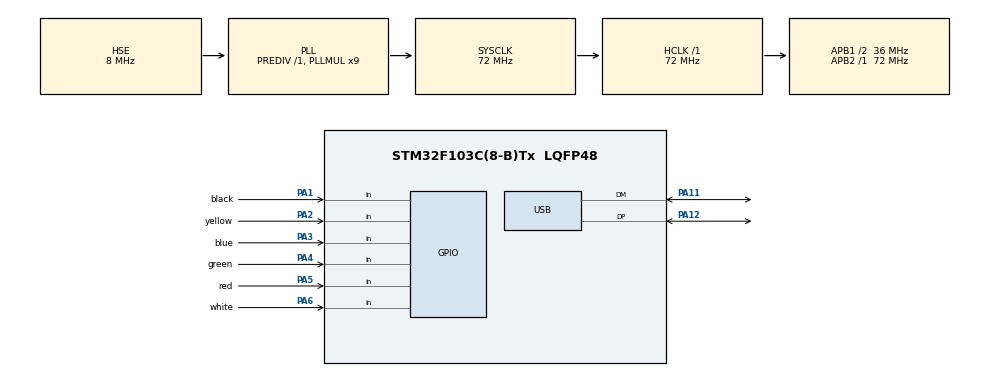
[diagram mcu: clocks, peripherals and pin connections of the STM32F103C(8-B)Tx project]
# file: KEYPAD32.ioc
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Mcu.Family=STM32F1
Mcu.Name=STM32F103C(8-B)Tx
Mcu.Package=LQFP48
NVIC.PriorityGroup=NVIC_PRIORITYGROUP_4
NVIC.USB_LP_CAN1_RX0_IRQn=true\:0\:0\:false\:false\:true\:false\:true
PA1.GPIO_Label=black
PA1.GPIO_PuPd=GPIO_PULLDOWN
PA1.Signal=GPIO_Input
PA11.Mode=Device
PA11.Signal=USB_DM
PA12.Mode=Device
PA12.Signal=USB_DP
PA13.Mode=Serial_Wire
PA13.Signal=SYS_JTMS-SWDIO
PA14.Mode=Serial_Wire
PA14.Signal=SYS_JTCK-SWCLK
PA2.GPIO_Label=yellow
PA2.GPIO_PuPd=GPIO_PULLDOWN
PA2.Signal=GPIO_Input
PA3.GPIO_Label=blue
PA3.GPIO_PuPd=GPIO_PULLDOWN
PA3.Signal=GPIO_Input
PA4.GPIO_Label=green
PA4.GPIO_PuPd=GPIO_PULLDOWN
PA4.Signal=GPIO_Input
PA5.GPIO_Label=red
PA5.GPIO_PuPd=GPIO_PULLDOWN
PA5.Signal=GPIO_Input
PA6.GPIO_Label=white
PA6.GPIO_PuPd=GPIO_PULLDOWN
PA6.Signal=GPIO_Input
PD0-OSC_IN.Mode=HSE-External-Oscillator
PD0-OSC_IN.Signal=RCC_OSC_IN
PD1-OSC_OUT.Mode=HSE-External-Oscillator
PD1-OSC_OUT.Signal=RCC_OSC_OUT
ProjectManager.HeapSize=0x200
ProjectManager.StackSize=0x400
ProjectManager.TargetToolchain=STM32CubeIDE
RCC.AHBFreq_Value=72000000
RCC.APB1CLKDivider=RCC_HCLK_DIV2
RCC.APB1Freq_Value=36000000
RCC.APB1TimFreq_Value=72000000
RCC.APB2Freq_Value=72000000
RCC.APB2TimFreq_Value=72000000
RCC.HCLKFreq_Value=72000000
RCC.PLLMUL=RCC_PLL_MUL9
RCC.PLLSourceVirtual=RCC_PLLSOURCE_HSE
RCC.SYSCLKFreq_VALUE=72000000
RCC.SYSCLKSource=RCC_SYSCLKSOURCE_PLLCLK
RCC.USBFreq_Value=48000000
RCC.USBPrescaler=RCC_USBCLKSOURCE_PLL_DIV1_5
USB_DEVICE.CLASS_NAME_FS=HID
USB_DEVICE.PRODUCT_STRING_HID_FS=STM32KeyPad
USB_DEVICE.VirtualMode=Hid
USB_DEVICE.VirtualModeFS=Hid_FS
VP_USB_DEVICE_VS_USB_DEVICE_HID_FS.Mode=HID_FS
board=custom

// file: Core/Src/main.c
/* USER CODE BEGIN Header */
/**
  ******************************************************************************
  * @file           : main.c
  * @brief          : Main program body
  ******************************************************************************
  * @attention
  *
  * <h2><center>&copy; Copyright (c) 2021 STMicroelectronics.
  * All rights reserved.</center></h2>
  *
  * This software component is licensed by ST under BSD 3-Clause license,
  * the "License"; You may not use this file except in compliance with the
  * License. You may obtain a copy of the License at:
  *                        opensource.org/licenses/BSD-3-Clause
  *
  ******************************************************************************
  */
/* USER CODE END Header */

#include "main.h"
#include "usb_device.h"

/* USER CODE BEGIN Includes */
#include "usbd_hid.h"
/* USER CODE END Includes */

void SystemClock_Config(void);
static void MX_GPIO_Init(void);
/* USER CODE BEGIN PFP */
static uint8_t	key_pressed(uint16_t key, uint32_t time)
{
	if (HAL_GPIO_ReadPin(GPIOA, key) == GPIO_PIN_RESET && time > 50)
		return 1;
	return 0;
}

static uint8_t	key_released(uint16_t key, uint32_t time)
{
	if (HAL_GPIO_ReadPin(GPIOA, key) == GPIO_PIN_SET && time > 50)
		return 1;
	return 0;
}
/* USER CODE END PFP */

/* USER CODE BEGIN 0 */
extern USBD_HandleTypeDef hUsbDeviceFS;

keyboardHID keyboardhid = {0,0,0,0,0,0,0,0};
/* USER CODE END 0 */

int main(void)
{
  /* USER CODE BEGIN 1 */
	uint32_t ms;
	uint32_t pause;

	pause = 0;
  /* USER CODE END 1 */

  /* MCU Configuration--------------------------------------------------------*/

  /* Reset of all peripherals, Initializes the Flash interface and the Systick. */
  HAL_Init();

  /* Configure the system clock */
  SystemClock_Config();

  /* Initialize all configured peripherals */
  MX_GPIO_Init();
  MX_USB_DEVICE_Init();

  /* Infinite loop */
  while (1)
  {

    /* USER CODE BEGIN 3 */
	  ms = HAL_GetTick();
	  if (key_pressed(black_Pin, (ms - pause)))
	  {
	 	  keyboardhid.MODIFIER = 0x04;  // left ALT
	 	  keyboardhid.KEYCODE1 = 0xE1;  // press LShift
	 	  USBD_HID_SendReport(&hUsbDeviceFS, &keyboardhid, sizeof(keyboardhid));
	 	  pause = ms;
	 	  if (key_released(black_Pin, (ms - pause)))
	 	  {
	 	 	  keyboardhid.MODIFIER = 0x00;
	 	 	  keyboardhid.KEYCODE1 = 0x00;
	 	 	  USBD_HID_SendReport(&hUsbDeviceFS, &keyboardhid, sizeof(keyboardhid));
	 	 	  pause = ms;
	 	  }
	  }

	  if (key_pressed(yellow_Pin, (ms - pause)))
	  {
		  keyboardhid.MODIFIER = 0x02;  // press LShift
		  keyboardhid.KEYCODE1 = 0x04;  // press A
		  USBD_HID_SendReport(&hUsbDeviceFS, &keyboardhid, sizeof(keyboardhid));
		  pause = ms;
		  if (key_released(yellow_Pin, (ms - pause)))
		  {
			  keyboardhid.MODIFIER = 0x00;
			  keyboardhid.KEYCODE1 = 0x00;
			  USBD_HID_SendReport(&hUsbDeviceFS, &keyboardhid, sizeof(keyboardhid));
			  pause = ms;
		  }
	  }
  }
  /* USER CODE END 3 */
}

void SystemClock_Config(void)
{
  RCC_OscInitTypeDef RCC_OscInitStruct = {0};
  RCC_ClkInitTypeDef RCC_ClkInitStruct = {0};
  RCC_PeriphCLKInitTypeDef PeriphClkInit = {0};

  /** Initializes the CPU, AHB and APB busses clocks
  */
  RCC_OscInitStruct.OscillatorType = RCC_OSCILLATORTYPE_HSE;
  RCC_OscInitStruct.HSEState = RCC_HSE_ON;
  RCC_OscInitStruct.HSEPredivValue = RCC_HSE_PREDIV_DIV1;
  RCC_OscInitStruct.HSIState = RCC_HSI_ON;
  RCC_OscInitStruct.PLL.PLLState = RCC_PLL_ON;
  RCC_OscInitStruct.PLL.PLLSource = RCC_PLLSOURCE_HSE;
  RCC_OscInitStruct.PLL.PLLMUL = RCC_PLL_MUL9;
  if (HAL_RCC_OscConfig(&RCC_OscInitStruct) != HAL_OK)
  {
    Error_Handler();
  }
  /** Initializes the CPU, AHB and APB busses clocks
  */
  RCC_ClkInitStruct.ClockType = RCC_CLOCKTYPE_HCLK|RCC_CLOCKTYPE_SYSCLK
                              |RCC_CLOCKTYPE_PCLK1|RCC_CLOCKTYPE_PCLK2;
  RCC_ClkInitStruct.SYSCLKSource = RCC_SYSCLKSOURCE_PLLCLK;
  RCC_ClkInitStruct.AHBCLKDivider = RCC_SYSCLK_DIV1;
  RCC_ClkInitStruct.APB1CLKDivider = RCC_HCLK_DIV2;
  RCC_ClkInitStruct.APB2CLKDivider = RCC_HCLK_DIV1;

  if (HAL_RCC_ClockConfig(&RCC_ClkInitStruct, FLASH_LATENCY_2) != HAL_OK)
  {
    Error_Handler();
  }
  PeriphClkInit.PeriphClockSelection = RCC_PERIPHCLK_USB;
  PeriphClkInit.UsbClockSelection = RCC_USBCLKSOURCE_PLL_DIV1_5;
  if (HAL_RCCEx_PeriphCLKConfig(&PeriphClkInit) != HAL_OK)
  {
    Error_Handler();
  }
}

static void MX_GPIO_Init(void)
{
  GPIO_InitTypeDef GPIO_InitStruct = {0};

  /* GPIO Ports Clock Enable */
  __HAL_RCC_GPIOD_CLK_ENABLE();
  __HAL_RCC_GPIOA_CLK_ENABLE();

  /*Configure GPIO pins : black_Pin yellow_Pin blue_Pin green_Pin
                           red_Pin white_Pin */
  GPIO_InitStruct.Pin = black_Pin|yellow_Pin|blue_Pin|green_Pin
                          |red_Pin|white_Pin;
  GPIO_InitStruct.Mode = GPIO_MODE_INPUT;
  GPIO_InitStruct.Pull = GPIO_PULLDOWN;
  HAL_GPIO_Init(GPIOA, &GPIO_InitStruct);

}

void Error_Handler(void)
{
}

/************************ (C) COPYRIGHT STMicroelectronics *****END OF FILE****/
